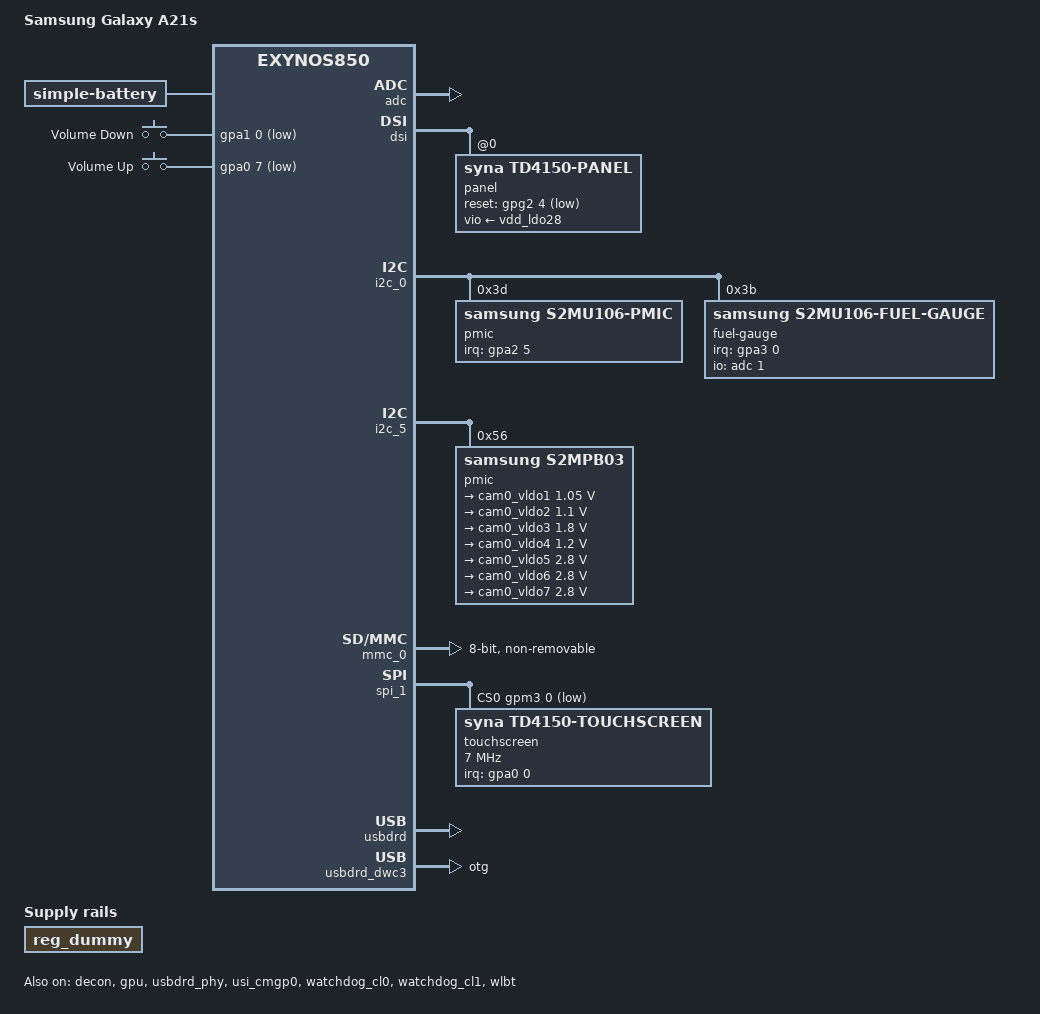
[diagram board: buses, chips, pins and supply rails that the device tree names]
// SPDX-License-Identifier: GPL-2.0
/*
 * Samsung Galaxy A21s (a21s/SM-A217F) device tree source
 *
 * Copyright (c) 2026, Thomas Turner <tturner@lineageos.org>
 */

/dts-v1/;
#include "exynos850.dtsi"
#include <dt-bindings/gpio/gpio.h>
#include <dt-bindings/input/input.h>

/ {
	model = "Samsung Galaxy A21s";
	compatible = "samsung,a217f", "samsung,exynos850";

	chosen {
		bootargs = "no_console_suspend mem_sleep_default=s2idle androidboot.hardware=exynos850 androidboot.boot_devices=soc@0/12100000.mmc androidboot.selinux=permissive androidboot.verifiedbootstate=orange androidboot.init_fatal_reboot_target=recovery firmware_class.path=/vendor/firmware/ log_buf_len=4M loop.max_part=7 rw";

	};

	battery: battery {
		compatible = "simple-battery";
		device-chemistry = "lithium-ion-polymer";
		charge-full-design-microamp-hours = <5000000>;
		voltage-max-design-microvolt = <4350000>;
		alert-celsius = <0 50>;
	};

	/*
	 * RTC clock (XrtcXTI); external, must be 32.768 kHz.
	 *
	 * TODO: Remove this once RTC clock is implemented properly as part of
	 *       PMIC driver.
	 */
	rtcclk: clock-rtcclk {
		compatible = "fixed-clock";
		clock-output-names = "rtcclk";
		#clock-cells = <0>;
		clock-frequency = <32768>;
	};

	gpio-keys {
		compatible = "gpio-keys";
		pinctrl-0 = <&key_voldown &key_volup>;
		pinctrl-names = "default";

		voldown-key {
			label = "Volume Down";
			gpios = <&gpa1 0 GPIO_ACTIVE_LOW>;
			linux,code = <KEY_VOLUMEDOWN>;
		};

		volup-key {
			label = "Volume Up";
			gpios = <&gpa0 7 GPIO_ACTIVE_LOW>;
			linux,code = <KEY_VOLUMEUP>;
		};
	};

	memory@80000000 {
		device_type = "memory";
		reg = <0x0 0x80000000 0x3c900000>,
		      <0x0 0xc0000000 0x20000000>,
		      <0x0 0xe0d00000 0x1f300000>,
		      <0x8 0x80000000 0x20000000>,
		      <0x8 0xa0000000 0x20000000>;
	};

	/* TODO: Remove this once PMIC is implemented  */
	reg_dummy: regulator-0 {
		compatible = "regulator-fixed";
		regulator-name = "dummy_reg";
	};

	reserved-memory {
		ranges;
		#address-cells = <2>;
		#size-cells = <1>;

		/*
		 * S-Boot rewrites its debug snapshot header at 0xf0000000
		 * (ess_setup), but keeps the kernel log area after it intact
		 */
		ramoops@f0010000 {
			compatible = "ramoops";
			reg = <0x0 0xf0010000 0x200000>;
			record-size = <0x20000>;
			console-size = <0x20000>;
			ftrace-size = <0x100000>;
			pmsg-size = <0x20000>;
		};

		/*
		 * Without the DPU IOMMU, scanout buffers are physically
		 * contiguous, and the DECON only takes 32-bit addresses
		 */
		linux,cma {
			compatible = "shared-dma-pool";
			reusable;
			size = <0x10000000>;
			alloc-ranges = <0x0 0x80000000 0x80000000>;
			linux,cma-default;
		};

		/* Shared memory of the WLBT subsystem, holds its firmware */
		wlbt_mem: wlbt {
			size = <0xc00000>;
			alignment = <0x0 0x100000>;
			alloc-ranges = <0x0 0x80000000 0x80000000>;
			no-map;
		};

		cont_splash_mem: framebuffer@fa000000 {
			reg = <0x0 0xfa000000 (720 * 1600 * 4)>;
			/*
			 * Boot splash of the bootloader. The DECON keeps
			 * scanning it out until the first commit from userspace,
			 * so it stays identity mapped behind the IOMMU.
			 */
			iommu-addresses = <&decon 0xfa000000 (720 * 1600 * 4)>;
			no-map;
		};
	};
};

&acpm_ipc {
	pmic-1 {
		compatible = "samsung,s2mpu12-pmic";
		interrupts = <GIC_SPI 56 IRQ_TYPE_LEVEL_HIGH>;
		pinctrl-0 = <&pm_wrstbi>;
		pinctrl-names = "default";
		system-power-controller;
		wakeup-source;

		regulators {
			vdd_buck1: buck1 {
				regulator-name = "vdd_cpu";
				regulator-min-microvolt = <500000>;
				regulator-max-microvolt = <1200000>;
				regulator-always-on;
			};

			vdd_buck2: buck2 {
				regulator-name = "vdd_gpu";
				regulator-min-microvolt = <500000>;
				regulator-max-microvolt = <1200000>;
				regulator-always-on;
			};

			vdd_buck4: buck4 {
				regulator-name = "vdd_lldo";
				regulator-min-microvolt = <900000>;
				regulator-max-microvolt = <1500000>;
				regulator-always-on;
			};

			vdd_buck5: buck5 {
				regulator-name = "vdd_mldo";
				regulator-min-microvolt = <1800000>;
				regulator-max-microvolt = <2100000>;
				regulator-always-on;
			};

			vdd_ldo1: ldo1 {
				regulator-name = "vdd_ldo1";
				regulator-min-microvolt = <700000>;
				regulator-max-microvolt = <1300000>;
				regulator-always-on;
			};

			vdd_ldo2: ldo2 {
				regulator-name = "vdd_ldo2";
				regulator-min-microvolt = <1600000>;
				regulator-max-microvolt = <1950000>;
				regulator-always-on;
			};

			vdd_ldo3: ldo3 {
				regulator-name = "vdd_ldo3";
				regulator-min-microvolt = <700000>;
				regulator-max-microvolt = <1300000>;
				regulator-always-on;
			};

			vdd_ldo4: ldo4 {
				regulator-name = "vdd_ldo4";
				regulator-min-microvolt = <1600000>;
				regulator-max-microvolt = <1950000>;
				regulator-always-on;
			};

			vdd_ldo5: ldo5 {
				regulator-name = "vdd_ldo5";
				regulator-min-microvolt = <700000>;
				regulator-max-microvolt = <1300000>;
				regulator-always-on;
			};

			vdd_ldo6: ldo6 {
				regulator-name = "vdd_ldo6";
				regulator-min-microvolt = <500000>;
				regulator-max-microvolt = <1187500>;
				regulator-always-on;
			};

			vdd_ldo7: ldo7 {
				regulator-name = "vdd_ldo7";
				regulator-min-microvolt = <700000>;
				regulator-max-microvolt = <1300000>;
				regulator-always-on;
			};

			vdd_ldo8: ldo8 {
				regulator-name = "vdd_ldo8";
				regulator-min-microvolt = <500000>;
				regulator-max-microvolt = <1300000>;
				regulator-always-on;
			};

			vdd_ldo9: ldo9 {
				regulator-name = "vdd_ldo9";
				regulator-min-microvolt = <500000>;
				regulator-max-microvolt = <1300000>;
				regulator-always-on;
			};

			vdd_ldo10: ldo10 {
				regulator-name = "vqmmc";
				regulator-min-microvolt = <1800000>;
				regulator-max-microvolt = <2950000>;
			};

			vdd_ldo11: ldo11 {
				regulator-name = "vdd_ldo11";
				regulator-min-microvolt = <3300000>;
				regulator-max-microvolt = <3375000>;
				regulator-always-on;
			};

			vdd_ldo23: ldo23 {
				regulator-name = "vdd_ldo23";
				regulator-min-microvolt = <1800000>;
				regulator-max-microvolt = <3375000>;
				regulator-always-on;
			};

			vdd_ldo24: ldo24 {
				regulator-name = "vmmc";
				regulator-min-microvolt = <1800000>;
				regulator-max-microvolt = <2950000>;
			};

			vdd_ldo25: ldo25 {
				regulator-name = "vdd_ldo25";
				regulator-min-microvolt = <1800000>;
				regulator-max-microvolt = <3375000>;
				regulator-always-on;
			};

			vdd_ldo26: ldo26 {
				regulator-name = "vdd_btp_3p3";
				regulator-min-microvolt = <3300000>;
				regulator-max-microvolt = <3375000>;
			};

			vdd_ldo27: ldo27 {
				regulator-name = "vdd_grip_3p0";
				regulator-min-microvolt = <3000000>;
				regulator-max-microvolt = <3000000>;
				regulator-always-on;
				regulator-boot-on;
			};

			vdd_ldo28: ldo28 {
				regulator-name = "vdd_ldo28";
				regulator-min-microvolt = <1800000>;
				regulator-max-microvolt = <1800000>;
				regulator-boot-on;
			};

			vdd_ldo29: ldo29 {
				regulator-name = "vdd_ldo29";
				regulator-min-microvolt = <700000>;
				regulator-max-microvolt = <1300000>;
			};

			vdd_ldo30: ldo30 {
				regulator-name = "vdd_ldo30";
				regulator-min-microvolt = <1600000>;
				regulator-max-microvolt = <1950000>;
				regulator-always-on;
			};

			vdd_ldo31: ldo31 {
				regulator-name = "vdd_ldo31";
				regulator-min-microvolt = <1800000>;
				regulator-max-microvolt = <3375000>;
			};

			vdd_ldo32: ldo32 {
				regulator-name = "vdd_ldo32";
				regulator-min-microvolt = <1800000>;
				regulator-max-microvolt = <3375000>;
			};

			vdd_ldo33: ldo33 {
				regulator-name = "vdd_aldo1";
				regulator-min-microvolt = <1600000>;
				regulator-max-microvolt = <1950000>;
				regulator-always-on;
			};

			vdd_ldo34: ldo34 {
				regulator-name = "vdd_aldo2";
				regulator-min-microvolt = <1800000>;
				regulator-max-microvolt = <3375000>;
				regulator-always-on;
			};

			vdd_ldo35: ldo35 {
				regulator-name = "vdd_ldo_core";
				regulator-min-microvolt = <1600000>;
				regulator-max-microvolt = <1950000>;
				regulator-always-on;
			};

			vdd_ldo36: ldo36 {
				regulator-name = "vdd_ldo_buf";
				regulator-min-microvolt = <700000>;
				regulator-max-microvolt = <1300000>;
			};
		};
	};
};

&adc {
	/* TODO: the analog supply is an always-on PMIC rail */
	vdd-supply = <&reg_dummy>;

	status = "okay";
};

&cmu_hsi {
	clocks = <&oscclk>, <&rtcclk>,
		 <&cmu_top CLK_DOUT_HSI_BUS>,
		 <&cmu_top CLK_DOUT_HSI_MMC_CARD>,
		 <&cmu_top CLK_DOUT_HSI_USB20DRD>;
	clock-names = "oscclk", "rtcclk", "dout_hsi_bus",
		      "dout_hsi_mmc_card", "dout_hsi_usb20drd";
};

&decon {
	memory-region = <&cont_splash_mem>;
	status = "okay";
};

&dsi {
	samsung,burst-clock-frequency = <830000000>;
	samsung,esc-clock-frequency = <20000000>;
	status = "okay";

	panel@0 {
		compatible = "syna,td4150-panel";
		reg = <0>;

		/*
		 * TODO: Add vsn-supply, vsp-supply and backlight-gpios
		 * (gpg2 1) once the LM36274 bias and backlight driver is
		 * described. Until then these keep the configuration of
		 * the bootloader.
		 */
		vio-supply = <&vdd_ldo28>;
		reset-gpios = <&gpg2 4 GPIO_ACTIVE_LOW>;

		width-mm = <69>;
		height-mm = <152>;

		panel-timing {
			clock-frequency = <128118000>;

			hactive = <720>;
			hfront-porch = <508>;
			hsync-len = <2>;
			hback-porch = <80>;

			vactive = <1600>;
			vfront-porch = <24>;
			vsync-len = <2>;
			vback-porch = <4>;
		};
	};
};

&gpu {
	mali-supply = <&vdd_buck2>;

	status = "okay";
};

&i2c_0 {
	status = "okay";

	pmic@3d {
		compatible = "samsung,s2mu106-pmic";
		reg = <0x3d>;
		pinctrl-0 = <&if_pmic_irq>;
		pinctrl-names = "default";

		interrupt-parent = <&gpa2>;
		interrupts = <5 IRQ_TYPE_LEVEL_LOW>;
	};

	fuel-gauge@3b {
		compatible = "samsung,s2mu106-fuel-gauge";
		reg = <0x3b>;
		pinctrl-0 = <&fg_alert>;
		pinctrl-names = "default";

		interrupt-parent = <&gpa3>;
		interrupts = <0 IRQ_TYPE_EDGE_BOTH>;
		wakeup-source;

		monitored-battery = <&battery>;
		shunt-resistor-micro-ohms = <5000>;

		io-channels = <&adc 1>;
		io-channel-names = "temp";
		samsung,temp-lookup-table =
			<90000 311>,
			<85000 349>,
			<80000 403>,
			<75000 478>,
			<70000 565>,
			<65000 670>,
			<60000 781>,
			<55000 910>,
			<50000 1047>,
			<45000 1220>,
			<40000 1382>,
			<35000 1615>,
			<30000 1841>,
			<25000 2059>,
			<20000 2285>,
			<15000 2499>,
			<10000 2747>,
			<5000 2950>,
			<0 3159>,
			<(-5000) 3307>,
			<(-10000) 3475>,
			<(-15000) 3604>,
			<(-20000) 3690>;

		/* Samsung SDI model, first age step of the downstream data */
		samsung,battery-capacity = /bits/ 8 <0xc4 0x49 0xc0 0x0e>;
		samsung,battery-model = /bits/ 8 <
			0xf8 0x0a 0x75 0x0a 0xf2 0x09 0x80 0x09 0x13 0x09 0xab
			0x08 0x49 0x08 0xd0 0x07 0x9c 0x07 0x46 0x07 0xe6 0x06
			0xac 0x06 0x82 0x06 0x61 0x06 0x47 0x06 0x2d 0x06 0x07
			0x06 0xdf 0x05 0x9b 0x05 0x82 0x05 0x98 0x04 0x9c 0x01
			0x6a 0x08 0x00 0x08 0x96 0x07 0x2c 0x07 0xc2 0x06 0x58
			0x06 0xee 0x05 0x84 0x05 0x1a 0x05 0xb1 0x04 0x47 0x04
			0xdd 0x03 0x73 0x03 0x09 0x03 0x9f 0x02 0x35 0x02 0xcb
			0x01 0x61 0x01 0xf7 0x00 0x8d 0x00 0x23 0x00 0xe3 0x0f
			0x0a 0x0a 0x0a 0x0a 0x33 0x33 0x33 0x34 0x33 0x33 0x33
			0x33 0x34 0x34 0x34 0x35 0x36 0x37 0x39 0x3c 0x41 0x9a
		>;
	};
};

&i2c_5 {
	status = "okay";

	pmic@56 {
		compatible = "samsung,s2mpb03";
		reg = <0x56>;

		regulators {
			ldo1 {
				regulator-name = "cam0_vldo1";
				regulator-min-microvolt = <1050000>;
				regulator-max-microvolt = <1050000>;
			};

			ldo2 {
				regulator-name = "cam0_vldo2";
				regulator-min-microvolt = <1100000>;
				regulator-max-microvolt = <1100000>;
			};

			ldo3 {
				regulator-name = "cam0_vldo3";
				regulator-min-microvolt = <1800000>;
				regulator-max-microvolt = <1800000>;
			};

			ldo4 {
				regulator-name = "cam0_vldo4";
				regulator-min-microvolt = <1200000>;
				regulator-max-microvolt = <1200000>;
			};

			ldo5 {
				regulator-name = "cam0_vldo5";
				regulator-min-microvolt = <2800000>;
				regulator-max-microvolt = <2800000>;
			};

			ldo6 {
				regulator-name = "cam0_vldo6";
				regulator-min-microvolt = <2800000>;
				regulator-max-microvolt = <2800000>;
			};

			ldo7 {
				regulator-name = "cam0_vldo7";
				regulator-min-microvolt = <2800000>;
				regulator-max-microvolt = <2800000>;
			};
		};
	};
};

&mmc_0 {
	compatible = "samsung,exynos7-dw-mshc";
	mmc-hs200-1_8v;
	mmc-hs400-1_8v;
	cap-mmc-highspeed;
	non-removable;
	mmc-hs400-enhanced-strobe;
	card-detect-delay = <200>;
	clock-frequency = <800000000>;
	bus-width = <8>;

	pinctrl-0 = <&sd0_clk_pins &sd0_cmd_pins &sd0_rdqs_pins &sd0_nreset_pins
		     &sd0_bus1_pins &sd0_bus4_pins &sd0_bus8_pins>;
	pinctrl-names = "default";

	samsung,dw-mshc-ciu-div = <3>;
	samsung,dw-mshc-sdr-timing = <0 4>;
	samsung,dw-mshc-ddr-timing = <2 4>;
	samsung,dw-mshc-hs400-timing = <0 2>;

	status = "okay";
};

&oscclk {
	clock-frequency = <26000000>;
};

&pinctrl_alive {
	if_pmic_irq: if-pmic-irq-pins {
		samsung,pins = "gpa2-5";
		samsung,pin-function = <EXYNOS_PIN_FUNC_EINT>;
		samsung,pin-pud = <EXYNOS_PIN_PULL_NONE>;
	};

	fg_alert: fg-alert-pins {
		samsung,pins = "gpa3-0";
		samsung,pin-function = <EXYNOS_PIN_FUNC_EINT>;
		samsung,pin-pud = <EXYNOS_PIN_PULL_NONE>;
	};

	key_voldown: key-voldown-pins {
		samsung,pins = "gpa1-0";
		samsung,pin-function = <EXYNOS_PIN_FUNC_EINT>;
		samsung,pin-pud = <EXYNOS_PIN_PULL_NONE>;
		samsung,pin-drv = <EXYNOS5420_PIN_DRV_LV1>;
	};

	key_volup: key-volup-pins {
		samsung,pins = "gpa0-7";
		samsung,pin-function = <EXYNOS_PIN_FUNC_EINT>;
		samsung,pin-pud = <EXYNOS_PIN_PULL_NONE>;
		samsung,pin-drv = <EXYNOS5420_PIN_DRV_LV1>;
	};
};

&pinctrl_peri {
	/* Warm reset input of the PMIC, kept high */
	pm_wrstbi: pm-wrstbi-pins {
		samsung,pins = "gpg1-5";
		samsung,pin-function = <EXYNOS_PIN_FUNC_OUTPUT>;
		samsung,pin-pud = <EXYNOS_PIN_PULL_NONE>;
		samsung,pin-drv = <EXYNOS5420_PIN_DRV_LV1>;
	};
};

&rtc {
	clocks = <&cmu_apm CLK_GOUT_RTC_PCLK>, <&rtcclk>;
	clock-names = "rtc", "rtc_src";

	status = "disabled";
};

&spi_1 {
	cs-gpios = <&gpm3 0 GPIO_ACTIVE_LOW>;
	num-cs = <1>;
	#address-cells = <1>;
	#size-cells = <0>;

	status = "okay";

	touchscreen@0 {
		compatible = "syna,td4150-touchscreen";
		reg = <0>;
		interrupt-parent = <&gpa0>;
		interrupts = <0 IRQ_TYPE_LEVEL_LOW>;
		spi-max-frequency = <7000000>;
		spi-cpha;
		spi-cpol;
		wakeup-source;
	};
};

&timer {
	/*
	 * Non-updatable, broken stock Samsung bootloader does not
	 * configure CNTFRQ_EL0
	 */
	clock-frequency = <26000000>;
};

&usbdrd {
	vdd10-supply = <&reg_dummy>;
	vdd33-supply = <&reg_dummy>;

	status = "okay";
};

&usbdrd_dwc3 {
	dr_mode = "otg";
	maximum-speed = "high-speed";
};

&usbdrd_phy {
	status = "okay";
};

&usi_cmgp0 {
	samsung,mode = <USI_MODE_SPI>;
	status = "okay";
};

&watchdog_cl0 {
	status = "okay";
};

&watchdog_cl1 {
	status = "okay";
};

&wlbt {
	memory-region = <&wlbt_mem>;
	status = "okay";
};
